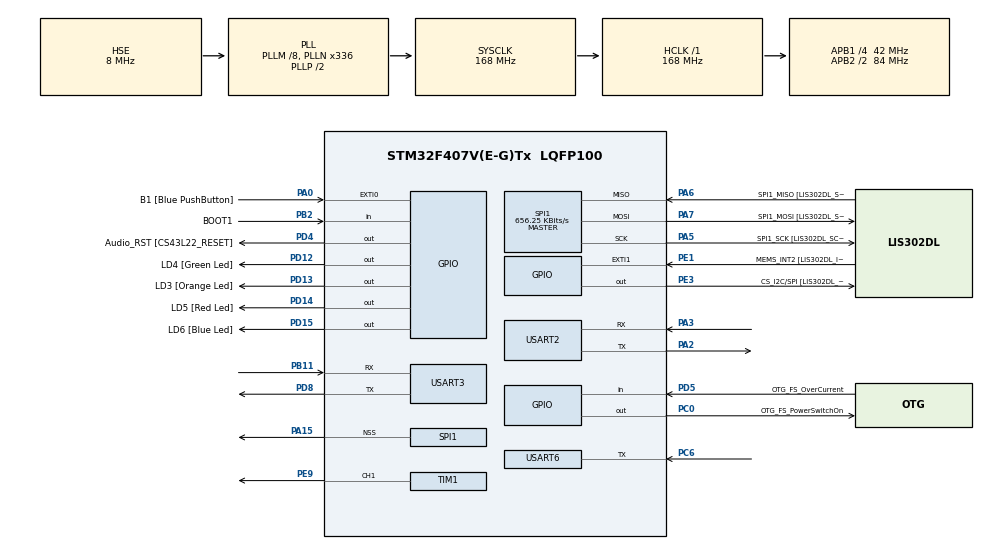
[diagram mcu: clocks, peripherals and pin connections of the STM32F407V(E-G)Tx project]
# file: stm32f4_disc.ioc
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Mcu.Family=STM32F4
Mcu.Name=STM32F407V(E-G)Tx
Mcu.Package=LQFP100
NVIC.PriorityGroup=NVIC_PRIORITYGROUP_0
NVIC.SPI1_IRQn=true\:0\:0\:false\:false\:true\:true\:true
NVIC.TIM2_IRQn=true\:0\:0\:false\:false\:true\:true\:true
NVIC.USART2_IRQn=true\:0\:0\:false\:false\:true\:true\:true
NVIC.USART3_IRQn=true\:0\:0\:false\:false\:true\:true\:true
NVIC.USART6_IRQn=true\:0\:0\:false\:false\:true\:true\:true
PA0-WKUP.GPIO_Label=B1 [Blue PushButton]
PA0-WKUP.GPIO_ModeDefaultEXTI=GPIO_MODE_EVT_RISING
PA0-WKUP.GPIO_PuPd=GPIO_NOPULL
PA0-WKUP.Signal=GPXTI0
PA10.GPIO_Label=OTG_FS_ID
PA10.GPIO_Mode=GPIO_MODE_AF_PP
PA10.GPIO_PuPd=GPIO_NOPULL
PA10.GPIO_Speed=GPIO_SPEED_FREQ_LOW
PA10.Signal=USB_OTG_FS_ID
PA11.GPIO_Label=OTG_FS_DM
PA11.GPIO_Mode=GPIO_MODE_AF_PP
PA11.GPIO_PuPd=GPIO_NOPULL
PA11.GPIO_Speed=GPIO_SPEED_FREQ_LOW
PA11.Signal=USB_OTG_FS_DM
PA12.GPIO_Label=OTG_FS_DP
PA12.GPIO_Mode=GPIO_MODE_AF_PP
PA12.GPIO_PuPd=GPIO_NOPULL
PA12.GPIO_Speed=GPIO_SPEED_FREQ_LOW
PA12.Signal=USB_OTG_FS_DP
PA13.GPIO_Label=SWDIO
PA13.Mode=Serial_Wire
PA13.Signal=SYS_JTMS-SWDIO
PA14.GPIO_Label=SWCLK
PA14.Mode=Serial_Wire
PA14.Signal=SYS_JTCK-SWCLK
PA15.Mode=NSS_Signal_Hard_Output
PA15.Signal=SPI1_NSS
PA2.Mode=Asynchronous
PA2.Signal=USART2_TX
PA3.Mode=Asynchronous
PA3.Signal=USART2_RX
PA4.GPIO_Label=I2S3_WS [CS43L22_LRCK]
PA4.GPIO_Mode=GPIO_MODE_AF_PP
PA4.GPIO_PuPd=GPIO_NOPULL
PA4.GPIO_Speed=GPIO_SPEED_FREQ_LOW
PA4.Signal=I2S3_WS
PA5.GPIO_Label=SPI1_SCK [LIS302DL_SCL/SPC]
PA5.GPIO_Mode=GPIO_MODE_AF_PP
PA5.GPIO_PuPd=GPIO_NOPULL
PA5.GPIO_Speed=GPIO_SPEED_FREQ_LOW
PA5.Mode=Full_Duplex_Master
PA5.Signal=SPI1_SCK
PA6.GPIO_Label=SPI1_MISO [LIS302DL_SDO]
PA6.GPIO_Mode=GPIO_MODE_AF_PP
PA6.GPIO_PuPd=GPIO_NOPULL
PA6.GPIO_Speed=GPIO_SPEED_FREQ_LOW
PA6.Mode=Full_Duplex_Master
PA6.Signal=SPI1_MISO
PA7.GPIO_Label=SPI1_MOSI [LIS302DL_SDA/SDI/SDO]
PA7.GPIO_Mode=GPIO_MODE_AF_PP
PA7.GPIO_PuPd=GPIO_NOPULL
PA7.GPIO_Speed=GPIO_SPEED_FREQ_LOW
PA7.Mode=Full_Duplex_Master
PA7.Signal=SPI1_MOSI
PA9.GPIO_Label=VBUS_FS
PA9.GPIO_Mode=GPIO_MODE_INPUT
PA9.GPIO_PuPd=GPIO_NOPULL
PA9.Signal=USB_OTG_FS_VBUS
PB10.GPIO_Label=CLK_IN [MP45DT02_CLK]
PB10.GPIO_Mode=GPIO_MODE_AF_PP
PB10.GPIO_PuPd=GPIO_NOPULL
PB10.GPIO_Speed=GPIO_SPEED_FREQ_LOW
PB10.Signal=I2S2_CK
PB11.Mode=Asynchronous
PB11.Signal=USART3_RX
PB2.GPIO_Label=BOOT1
PB2.GPIO_Mode=GPIO_MODE_INPUT
PB2.GPIO_PuPd=GPIO_NOPULL
PB2.Signal=GPIO_Input
PB3.GPIO_Label=SWO
PB3.Signal=SYS_JTDO-SWO
PB6.GPIO_Label=Audio_SCL [CS43L22_SCL]
PB6.GPIO_Mode=GPIO_MODE_AF_OD
PB6.GPIO_Pu=GPIO_PULLUP
PB6.GPIO_PuPd=GPIO_NOPULL
PB6.GPIO_Speed=GPIO_SPEED_FREQ_LOW
PB6.Signal=I2C1_SCL
PB9.GPIO_Label=Audio_SDA [CS43L22_SDA]
PB9.GPIO_Mode=GPIO_MODE_AF_OD
PB9.GPIO_Pu=GPIO_PULLUP
PB9.GPIO_PuPd=GPIO_NOPULL
PB9.GPIO_Speed=GPIO_SPEED_FREQ_LOW
PB9.Signal=I2C1_SDA
PC0.GPIO_Label=OTG_FS_PowerSwitchOn
PC0.GPIO_PuPd=GPIO_NOPULL
PC0.GPIO_Speed=GPIO_SPEED_FREQ_LOW
PC0.PinState=GPIO_PIN_SET
PC0.Signal=GPIO_Output
PC10.GPIO_Label=I2S3_SCK [CS43L22_SCLK]
PC10.GPIO_Mode=GPIO_MODE_AF_PP
PC10.GPIO_PuPd=GPIO_NOPULL
PC10.GPIO_Speed=GPIO_SPEED_FREQ_LOW
PC10.Signal=I2S3_CK
PC12.GPIO_Label=I2S3_SD [CS43L22_SDIN]
PC12.GPIO_Mode=GPIO_MODE_AF_PP
PC12.GPIO_PuPd=GPIO_NOPULL
PC12.GPIO_Speed=GPIO_SPEED_FREQ_LOW
PC12.Signal=I2S3_SD
PC14-OSC32_IN.GPIO_Label=PC14-OSC32_IN
PC14-OSC32_IN.Mode=LSE-External-Oscillator
PC14-OSC32_IN.Signal=RCC_OSC32_IN
PC15-OSC32_OUT.GPIO_Label=PC15-OSC32_OUT
PC15-OSC32_OUT.Mode=LSE-External-Oscillator
PC15-OSC32_OUT.Signal=RCC_OSC32_OUT
PC3.GPIO_Label=PDM_OUT [MP45DT02_DOUT]
PC3.GPIO_Mode=GPIO_MODE_AF_PP
PC3.GPIO_PuPd=GPIO_NOPULL
PC3.GPIO_Speed=GPIO_SPEED_FREQ_LOW
PC3.Signal=I2S2_SD
PC6.Mode=Half_duplex(single_wire_mode)
PC6.Signal=USART6_TX
PC7.GPIO_Label=I2S3_MCK [CS43L22_MCLK]
PC7.GPIO_Mode=GPIO_MODE_AF_PP
PC7.GPIO_PuPd=GPIO_NOPULL
PC7.GPIO_Speed=GPIO_SPEED_FREQ_LOW
PC7.Signal=I2S3_MCK
PD12.GPIO_Label=LD4 [Green Led]
PD12.GPIO_PuPd=GPIO_NOPULL
PD12.GPIO_Speed=GPIO_SPEED_FREQ_LOW
PD12.Signal=GPIO_Output
PD13.GPIO_Label=LD3 [Orange Led]
PD13.GPIO_PuPd=GPIO_NOPULL
PD13.GPIO_Speed=GPIO_SPEED_FREQ_LOW
PD13.Signal=GPIO_Output
PD14.GPIO_Label=LD5 [Red Led]
PD14.GPIO_PuPd=GPIO_NOPULL
PD14.GPIO_Speed=GPIO_SPEED_FREQ_LOW
PD14.Signal=GPIO_Output
PD15.GPIO_Label=LD6 [Blue Led]
PD15.GPIO_PuPd=GPIO_NOPULL
PD15.GPIO_Speed=GPIO_SPEED_FREQ_LOW
PD15.Signal=GPIO_Output
PD4.GPIO_Label=Audio_RST [CS43L22_RESET]
PD4.GPIO_PuPd=GPIO_NOPULL
PD4.GPIO_Speed=GPIO_SPEED_FREQ_LOW
PD4.Signal=GPIO_Output
PD5.GPIO_Label=OTG_FS_OverCurrent
PD5.GPIO_Mode=GPIO_MODE_INPUT
PD5.GPIO_PuPd=GPIO_NOPULL
PD5.Signal=GPIO_Input
PD8.Mode=Asynchronous
PD8.Signal=USART3_TX
PE1.GPIO_Label=MEMS_INT2 [LIS302DL_INT2]
PE1.GPIO_ModeDefaultEXTI=GPIO_MODE_EVT_RISING
PE1.GPIO_PuPd=GPIO_NOPULL
PE1.Signal=GPXTI1
PE3.GPIO_Label=CS_I2C/SPI [LIS302DL_CS_I2C/SPI]
PE3.GPIO_PuPd=GPIO_NOPULL
PE3.GPIO_Speed=GPIO_SPEED_FREQ_LOW
PE3.Signal=GPIO_Output
PE9.Signal=S_TIM1_CH1
PH0-OSC_IN.GPIO_Label=PH0-OSC_IN
PH0-OSC_IN.Mode=HSE-External-Oscillator
PH0-OSC_IN.Signal=RCC_OSC_IN
PH1-OSC_OUT.GPIO_Label=PH1-OSC_OUT
PH1-OSC_OUT.Mode=HSE-External-Oscillator
PH1-OSC_OUT.Signal=RCC_OSC_OUT
ProjectManager.HeapSize=0x200
ProjectManager.StackSize=0x400
ProjectManager.TargetToolchain=STM32CubeIDE
RCC.48MHZClocksFreq_Value=48000000
RCC.AHBFreq_Value=168000000
RCC.APB1CLKDivider=RCC_HCLK_DIV4
RCC.APB1Freq_Value=42000000
RCC.APB1TimFreq_Value=84000000
RCC.APB2CLKDivider=RCC_HCLK_DIV2
RCC.APB2Freq_Value=84000000
RCC.APB2TimFreq_Value=168000000
RCC.CortexFreq_Value=168000000
RCC.HCLKFreq_Value=168000000
RCC.HSE_VALUE=8000000
RCC.HSI_VALUE=16000000
RCC.PLLM=8
RCC.PLLN=336
RCC.PLLQ=7
RCC.PLLSourceVirtual=RCC_PLLSOURCE_HSE
RCC.SYSCLKFreq_VALUE=168000000
RCC.SYSCLKSource=RCC_SYSCLKSOURCE_PLLCLK
RCC.VCOOutputFreq_Value=336000000
SH.S_TIM1_CH1.0=TIM1_CH1,PWM Generation1 CH1
SPI1.BaudRatePrescaler=SPI_BAUDRATEPRESCALER_128
SPI1.CalculateBaudRate=656.25 KBits/s
SPI1.DataSize=SPI_DATASIZE_8BIT
SPI1.Direction=SPI_DIRECTION_2LINES
SPI1.FirstBit=SPI_FIRSTBIT_MSB
SPI1.Mode=SPI_MODE_MASTER
SPI1.VirtualNSS=VM_NSSHARD
SPI1.VirtualType=VM_MASTER
TIM1.AutoReloadPreload=TIM_AUTORELOAD_PRELOAD_ENABLE
TIM1.Channel-PWM\ Generation1\ CH1=TIM_CHANNEL_1
TIM1.Period=50000
TIM1.Pulse-PWM\ Generation1\ CH1=1000
TIM2.AutoReloadPreload=TIM_AUTORELOAD_PRELOAD_ENABLE
TIM2.CounterMode=TIM_COUNTERMODE_DOWN
TIM2.Period=30000
TIM2.Prescaler=1000
USART2.VirtualMode=VM_ASYNC
USART3.VirtualMode=VM_ASYNC
USART6.Mode=MODE_RX
USART6.VirtualMode=VM_ASYNC
VP_TIM2_VS_ClockSourceINT.Mode=Internal
board=STM32F407G-DISC1

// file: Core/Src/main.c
/* USER CODE BEGIN Header */
/**
  ******************************************************************************
  * @file           : main.c
  * @brief          : Main program body
  ******************************************************************************
  * @attention
  *
  * <h2><center>&copy; Copyright (c) 2021 STMicroelectronics.
  * All rights reserved.</center></h2>
  *
  * This software component is licensed by ST under Ultimate Liberty license
  * SLA0044, the "License"; You may not use this file except in compliance with
  * the License. You may obtain a copy of the License at:
  *                             www.st.com/SLA0044
  *
  ******************************************************************************
  */
/* USER CODE END Header */
#include "main.h"
#include "spi.h"
#include "tim.h"
#include "usart.h"
#include "gpio.h"

/* USER CODE BEGIN Includes */

#include "lidar.h"
#include "com_pc.h"
#include "com_FPGA_spi.h"
#include "com_M0.h"
#include "spi.h"
#include "moteur.h"

extern uint8_t objectif_vitesse;
extern uint8_t vitesse_actuelle;

/* USER CODE END Includes */

void SystemClock_Config(void);

int main(void)
{

  /* MCU Configuration--------------------------------------------------------*/

  /* Reset of all peripherals, Initializes the Flash interface and the Systick. */
  HAL_Init();

  /* Configure the system clock */
  SystemClock_Config();

  /* Initialize all configured peripherals */
  MX_GPIO_Init();
  MX_USART2_UART_Init();
  MX_USART3_UART_Init();
  MX_SPI1_Init();
  MX_TIM1_Init();
  MX_USART6_UART_Init();
  MX_TIM2_Init();
  /* USER CODE BEGIN 2 */

  HAL_UART_Receive_IT(&huart2, &UART2_rxBuffer, 1);
  HAL_UART_Receive_IT(&huart3, &UART3_rxBuffer, 1);

  objectif_vitesse = 0;
  vitesse_actuelle = 0;

<<<<<<< Updated upstream

  //reset_lidar();
  //demarrer_pwm_lidar();
  //lidar_stop();
  HAL_Delay(50);

  //lidar_scan();
=======
  //reset_lidar();
  demarrer_pwm_lidar();
  lidar_scan();

  //lidar_stop();

  //HAL_Delay(50);
>>>>>>> Stashed changes
  //lidar_force_scan();

  //setup_com_M0();

  //tests_lidar();

  /*
   * Test rampe
   */
  vitesse_actuelle = 0;
  //objectif_vitesse = 20;

  HAL_TIM_Base_Start_IT(&htim2);

  /* USER CODE END 2 */

  /* Infinite loop */
  /* USER CODE BEGIN WHILE */
  while (1)
  {

	  HAL_GPIO_TogglePin(GPIOD, GPIO_PIN_13);
	  uint8_t test[3] = {1,2,3};
	  HAL_UART_Transmit(&huart2, test, 3, 100);

	  //test_spi();
<<<<<<< Updated upstream

=======
	  //test_spi_inverse();
>>>>>>> Stashed changes

	  //tests_lidar();

	  //HAL_Delay(500);
	  //callback_adoucissement_vitesse();

	  /*
	   * Debug !!
	   */

	  /*
	 * Sequence test fpga
	 */
/*
	fct_vierge();
	moteur2();
	config_freq_PWM_p127();
	spi_transmission();

	HAL_Delay(50);

	fct_vierge();
	moteur2();
	vit_rap_cyc(30);
	spi_transmission();

	HAL_Delay(50);

	fct_vierge();
	moteur2();
	vit_rap_cyc(60);
	spi_transmission();

	HAL_Delay(50);
	*/

    /* USER CODE END WHILE */

  }
}

void SystemClock_Config(void)
{
  RCC_OscInitTypeDef RCC_OscInitStruct = {0};
  RCC_ClkInitTypeDef RCC_ClkInitStruct = {0};

  /** Configure the main internal regulator output voltage
  */
  __HAL_RCC_PWR_CLK_ENABLE();
  __HAL_PWR_VOLTAGESCALING_CONFIG(PWR_REGULATOR_VOLTAGE_SCALE1);
  /** Initializes the RCC Oscillators according to the specified parameters
  * in the RCC_OscInitTypeDef structure.
  */
  RCC_OscInitStruct.OscillatorType = RCC_OSCILLATORTYPE_HSE;
  RCC_OscInitStruct.HSEState = RCC_HSE_ON;
  RCC_OscInitStruct.PLL.PLLState = RCC_PLL_ON;
  RCC_OscInitStruct.PLL.PLLSource = RCC_PLLSOURCE_HSE;
  RCC_OscInitStruct.PLL.PLLM = 8;
  RCC_OscInitStruct.PLL.PLLN = 336;
  RCC_OscInitStruct.PLL.PLLP = RCC_PLLP_DIV2;
  RCC_OscInitStruct.PLL.PLLQ = 7;
  if (HAL_RCC_OscConfig(&RCC_OscInitStruct) != HAL_OK)
  {
    Error_Handler();
  }
  /** Initializes the CPU, AHB and APB buses clocks
  */
  RCC_ClkInitStruct.ClockType = RCC_CLOCKTYPE_HCLK|RCC_CLOCKTYPE_SYSCLK
                              |RCC_CLOCKTYPE_PCLK1|RCC_CLOCKTYPE_PCLK2;
  RCC_ClkInitStruct.SYSCLKSource = RCC_SYSCLKSOURCE_PLLCLK;
  RCC_ClkInitStruct.AHBCLKDivider = RCC_SYSCLK_DIV1;
  RCC_ClkInitStruct.APB1CLKDivider = RCC_HCLK_DIV4;
  RCC_ClkInitStruct.APB2CLKDivider = RCC_HCLK_DIV2;

  if (HAL_RCC_ClockConfig(&RCC_ClkInitStruct, FLASH_LATENCY_5) != HAL_OK)
  {
    Error_Handler();
  }
}

void Error_Handler(void)
{
  __disable_irq();
  while (1)
  {
  }
}
